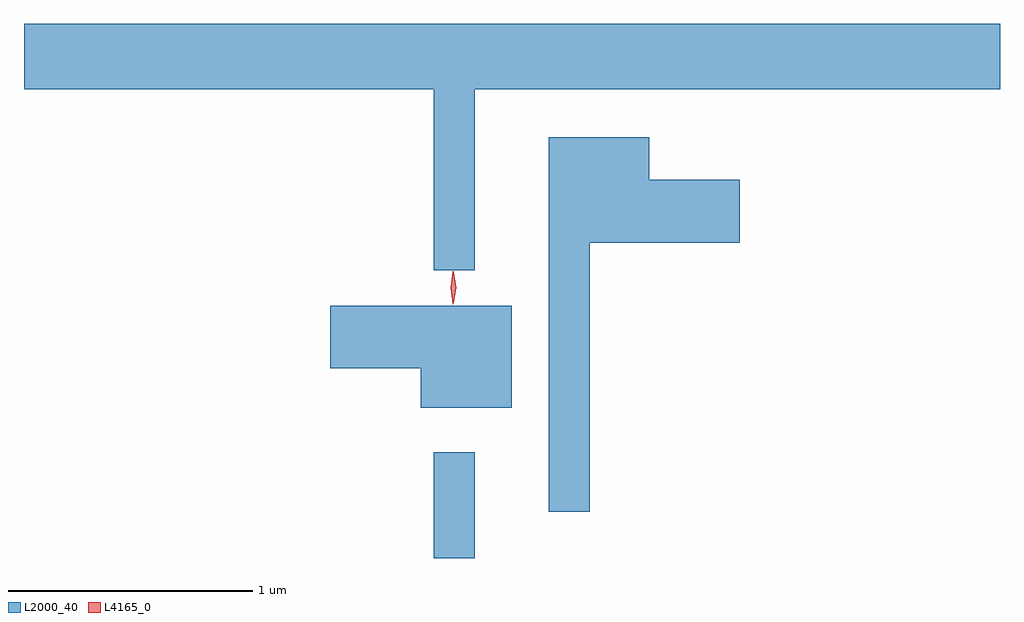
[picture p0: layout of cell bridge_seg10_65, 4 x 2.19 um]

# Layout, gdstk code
import gdstk
lib = gdstk.Library(unit=1e-6, precision=1e-09)
def R(c, l, rs):  # rectangles x0, y0, x1, y1
    for r in rs: c.add(gdstk.rectangle(r[:2], r[2:], *l))
def P(c, l, *ps):  # polygons
    for p in ps: c.add(gdstk.Polygon(p, *l))
L2000_40 = (2000, 40)
L4165_0 = (4165, 0)

bridge_seg10_65 = lib.new_cell('bridge_seg10_65')
R(bridge_seg10_65, L2000_40, [(1497.771,2209.673,1497.939,2210.108)])
P(bridge_seg10_65, L2000_40, [(1497.939,2211.596),(1500.091,2211.596),(1500.091,2211.864),(1496.091,2211.864),(1496.091,2211.596),(1497.771,2211.596),(1497.771,2210.853),(1497.939,2210.853)],
  [(1498.409,2210.966),(1499.024,2210.966),(1499.024,2211.224),(1498.654,2211.224),(1498.654,2211.399),(1498.241,2211.399),(1498.241,2209.863),(1498.409,2209.863)],
  [(1498.089,2210.709),(1497.346,2210.709),(1497.346,2210.451),(1497.716,2210.451),(1497.716,2210.291),(1498.089,2210.291)])
P(bridge_seg10_65, L4165_0, [(1497.852,2210.72),(1497.852,2210.72),(1497.842,2210.783),(1497.852,2210.846),(1497.852,2210.847),(1497.853,2210.846),(1497.862,2210.783),(1497.853,2210.72)],
  [(1497.849,2210.714),(1497.849,2210.714),(1497.839,2210.782),(1497.849,2210.85),(1497.849,2210.85),(1497.85,2210.85),(1497.859,2210.782),(1497.85,2210.714)])

lib.write_gds('bridge_seg10_65.gds')
